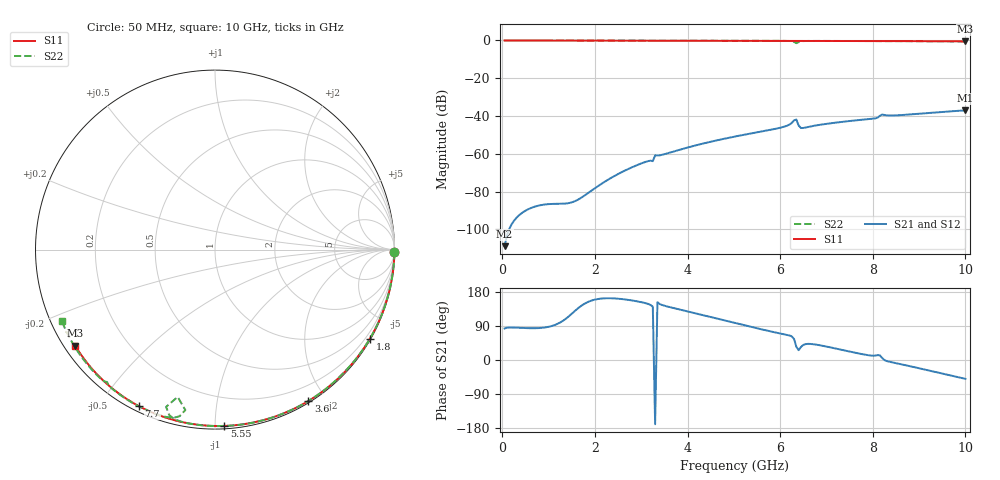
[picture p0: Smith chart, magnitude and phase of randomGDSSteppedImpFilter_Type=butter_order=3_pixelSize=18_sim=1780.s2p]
! freq	dB(S11)	phase(S11)	dB(S12)	phase(S12)
!  dB(S21)	phase(S21)	dB(S22)	phase(S22)
!S-par simulation data
#  GHz  S  DB  R 50
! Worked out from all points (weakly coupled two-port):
!   200 points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, 50 MHz to 10 GHz, reference 50 ohm
!   highest |S21| = -37.01 dB at 10 GHz (marker M1); lowest = -108.9 dB at 50 MHz (marker M2)
!   lowest |S11| = -0.5 dB at 10 GHz (marker M3), VSWR 35.48, Z = 1.55 - j15.5 ohm
!   |S11| at or under -10 dB: nowhere
!   |S22| runs from -1.4 to 0.0 dB; largest |S21 - S12| = 0
!   S11 on the Smith chart (normalised r, x): 50 MHz: open; 1.8 GHz: 0.03, -3.74; 3.6 GHz: 0.02, -1.79; 5.55 GHz: 0.02, -1.05; 7.7 GHz: 0.02, -0.63; 10 GHz: 0.03, -0.31
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0.05  -0.00 -0.9  -108.94 83.2  -108.94 83.2  -0.00 -0.9
1.75  -0.04 -29.1  -82.57 146.6  -82.57 146.6  -0.04 -31.0
1.8  -0.04 -29.9  -81.73 150.1  -81.73 150.1  -0.04 -31.8
1.9  -0.04 -31.6  -79.99 155.7  -79.99 155.7  -0.05 -33.5
2.75  -0.06 -45.2  -67.73 158.1  -67.73 158.1  -0.07 -47.9
3.25  -0.07 -53.0  -63.93 140.6  -63.93 140.6  -0.08 -56.2
3.3  -0.07 -53.8  -60.84 -169.5  -60.84 -169.5  -0.08 -57.0
3.4  -0.07 -55.3  -60.85 147.6  -60.85 147.6  -0.08 -58.7
3.6  -0.08 -58.4  -59.51 140.0  -59.51 140.0  -0.08 -61.9
5.05  -0.12 -79.8  -50.75 97.0  -50.75 97.0  -0.13 -84.8
5.55  -0.14 -86.9  -48.42 82.3  -48.42 82.3  -0.15 -92.5
6.2  -0.17 -95.9  -44.55 64.7  -44.55 64.7  -0.28 -103.9
6.3  -0.18 -97.3  -42.34 55.6  -42.34 55.6  -0.75 -107.3
6.35  -0.18 -98.0  -41.90 34.8  -41.90 34.8  -1.45 -104.2
6.4  -0.18 -98.6  -45.07 25.9  -45.07 25.9  -0.83 -100.5
6.45  -0.18 -99.3  -46.37 34.5  -46.37 34.5  -0.45 -102.0
6.7  -0.20 -102.7  -45.32 41.9  -45.32 41.9  -0.24 -107.7
7.7  -0.27 -115.9  -42.14 17.1  -42.14 17.1  -0.29 -122.7
8.05  -0.29 -120.4  -41.29 11.6  -41.29 11.6  -0.34 -127.8
8.2  -0.31 -122.4  -39.23 5.6  -39.23 5.6  -0.42 -129.3
8.35  -0.32 -124.3  -39.74 -4.3  -39.74 -4.3  -0.35 -131.5
10  -0.49 -145.4  -37.01 -49.8  -37.01 -49.8  -0.52 -155.0
